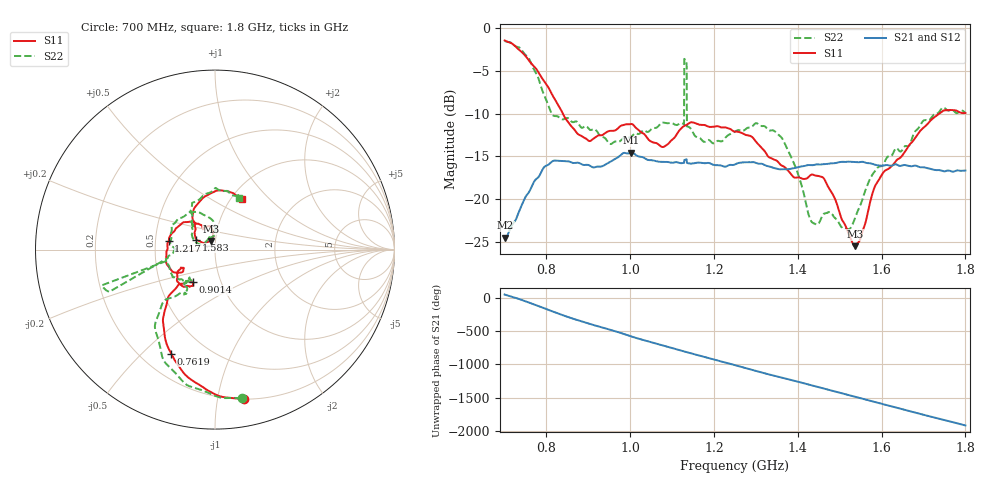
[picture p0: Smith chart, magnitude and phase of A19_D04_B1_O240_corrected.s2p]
! Created with skrf 1.9.0 (http://scikit-rf.org).
# Hz S RI R 50.0
!freq ReS11 ImS11 ReS21 ImS21 ReS12 ImS12 ReS22 ImS22
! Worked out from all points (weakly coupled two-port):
!   1601 points, 700 MHz to 1.8 GHz, reference 50 ohm
!   highest |S21| = -14.56 dB at 1.002 GHz (marker M1); lowest = -24.5 dB at 701.4 MHz (marker M2)
!   lowest |S11| = -25.5 dB at 1.536 GHz (marker M3), VSWR 1.11, Z = 47.6 + j4.59 ohm
!   |S11| at or under -10 dB: 838.8 MHz to 1.737 GHz (898.7 MHz wide, 69.8 % of centre)
!   |S22| runs from -23.5 to -1.5 dB; largest |S21 - S12| = 0.0035
!   S11 on the Smith chart (normalised r, x): 700 MHz: 0.20, -1.19; 761.9 MHz: 0.32, -0.62; 901.4 MHz: 0.74, -0.28; 1.217 GHz: 0.59, +0.06; 1.583 GHz: 0.81, +0.09; 1.8 GHz: 1.13, +0.70
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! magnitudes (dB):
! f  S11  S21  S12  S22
! 700 MHz  -1.4  -24.5  -24.3  -1.5
! 701.4 MHz  -1.5  -24.5  -24.1  -1.5
! 761.9 MHz  -4.0  -18.8  -18.8  -3.9
! 814.1 MHz  -7.8  -15.6  -15.6  -10.1
! 883.6 MHz  -12.6  -15.9  -15.8  -11.6
! 901.4 MHz  -13.2  -16.0  -16.0  -11.8
! 1.002 GHz  -11.2  -14.6  -14.7  -12.7
! 1.067 GHz  -13.6  -15.6  -15.6  -11.5
! 1.123 GHz  -11.7  -15.8  -15.7  -11.1
! 1.129 GHz  -11.4  -15.4  -15.5  -3.6
! 1.135 GHz  -11.3  -15.3  -15.4  -3.9
! 1.141 GHz  -11.1  -15.8  -15.8  -11.6
! 1.217 GHz  -11.6  -16.1  -16.1  -13.3
! 1.25 GHz  -12.1  -15.9  -15.9  -12.1
! 1.359 GHz  -16.0  -16.5  -16.5  -12.7
! 1.434 GHz  -17.1  -16.0  -16.0  -22.7
! 1.464 GHz  -17.8  -15.9  -15.9  -21.7
! 1.536 GHz  -25.5  -15.7  -15.7  -22.3
! 1.583 GHz  -18.6  -16.0  -16.0  -16.8
! 1.617 GHz  -16.4  -16.1  -16.0  -15.0
! 1.741 GHz  -9.9  -16.6  -16.6  -9.6
! 1.8 GHz  -9.9  -16.7  -16.6  -9.9
